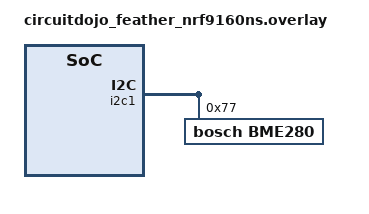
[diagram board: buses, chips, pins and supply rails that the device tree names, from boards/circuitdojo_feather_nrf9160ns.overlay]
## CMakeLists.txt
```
# SPDX-License-Identifier: Apache-2.0

cmake_minimum_required(VERSION 3.13.1)



find_package(Zephyr REQUIRED HINTS $ENV{ZEPHYR_BASE})
project(bme280)

FILE(GLOB app_sources src/*.c)
target_sources(app PRIVATE ${app_sources})
```

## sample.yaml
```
sample:
  name: BME280 Sensor sample
tests:
  sample.sensor.bme280:
    sysbuild: true
    harness: console
    tags: sensors
    platform_allow:
      - circuitdojo_feather_nrf9151/nrf9151/ns
    integration_platforms:
      - circuitdojo_feather_nrf9151/nrf9151/ns
    harness_config:
      type: one_line
      regex:
        - "temp: (.*); press: (.*); humidity: (.*)"
      fixture: fixture_i2c_bme280
```

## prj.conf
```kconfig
CONFIG_SENSOR=y
CONFIG_BME280=y

# Enable Zephyr application to be booted by MCUboot
CONFIG_BOOTLOADER_MCUBOOT=y
```

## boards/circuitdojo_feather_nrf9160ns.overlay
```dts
/*
 * Copyright (c) 2020, Circuit Dojo LLC
 *
 * SPDX-License-Identifier: Apache-2.0
 */

&i2c1 {
	bme280@77 {
		compatible = "bosch,bme280";
		reg = <0x77>;
		label = "BME280";
	};
};
```

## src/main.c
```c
/*
 * Copyright (c) 2012-2014 Wind River Systems, Inc.
 *
 * SPDX-License-Identifier: Apache-2.0
 */

#include <zephyr/kernel.h>
#include <zephyr/device.h>
#include <zephyr/devicetree.h>
#include <zephyr/drivers/sensor.h>

#define BME280 DT_INST(0, bosch_bme280)

#if !DT_NODE_HAS_STATUS(BME280, okay)
#error Your devicetree has no enabled nodes with compatible "bosch,bme280"
#endif

const struct device *dev = DEVICE_DT_GET(BME280);

int main(void)
{
	if (!device_is_ready(dev))
	{
		printk("No device \"%s\" found; did initialization fail?\n",
			   dev->name);
		return -ENODEV;
	}
	else
	{
		printk("Found device \"%s\"\n", dev->name);
	}

	while (1)
	{
		struct sensor_value temp, press, humidity;

		sensor_sample_fetch(dev);
		sensor_channel_get(dev, SENSOR_CHAN_AMBIENT_TEMP, &temp);
		sensor_channel_get(dev, SENSOR_CHAN_PRESS, &press);
		sensor_channel_get(dev, SENSOR_CHAN_HUMIDITY, &humidity);

		printk("temp: %d.%06d; press: %d.%06d; humidity: %d.%06d\n",
			   temp.val1, temp.val2, press.val1, press.val2,
			   humidity.val1, humidity.val2);

		k_sleep(K_MSEC(1000));
	}

	return 0;
}
```
